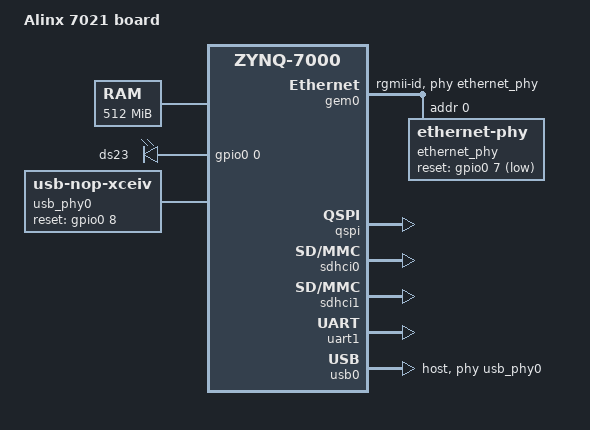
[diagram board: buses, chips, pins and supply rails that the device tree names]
// SPDX-License-Identifier: GPL-2.0+
/*
 *  Copyright (C) 2011 - 2015 Xilinx
 *  Copyright (C) 2012 National Instruments Corp.
 */
/dts-v1/;
#include "zynq-7000.dtsi"

/ {
	model = "Alinx 7021 board";
	compatible = "alinx,zynq-ax7021", "xlnx,zynq-7000";

	aliases {
		ethernet0 = &gem0;
		serial0 = &uart1;
		spi0 = &qspi;
		mmc0 = &sdhci0;
		mmc1 = &sdhci1;
	};

	memory@0 {
		device_type = "memory";
		reg = <0x0 0x20000000>;
	};

	chosen {
		bootargs = "";
		stdout-path = "serial0:115200n8";
	};

	leds {
		compatible = "gpio-leds";
		led-ds23 {
			label = "ds23";
			gpios = <&gpio0 0 0>;
			linux,default-trigger = "heartbeat";
		};
	};

	usb_phy0: phy0 {
		#phy-cells = <0>;
		compatible = "usb-nop-xceiv";
		reset-gpios = <&gpio0 8 0>; // GPIO_ACTIVE_HIGH 0
	};
};

&clkc {
	ps-clk-frequency = <33333333>;
};

&gem0 {
	status = "okay";
	phy-mode = "rgmii-id";
	phy-handle = <&ethernet_phy>;

	ethernet_phy: ethernet-phy@0 {
		reg = <0>;
		device_type = "ethernet-phy";
		reset-gpios = <&gpio0 7 1>; // GPIO_ACTIVE_LOW 1
	};
};

&qspi {
	bootph-all;
	status = "okay";
};

&sdhci0 {
	bootph-all;
	status = "okay";
};

&sdhci1 {
	bootph-all;
	status = "okay";
};

&uart1 {
	bootph-all;
	status = "okay";
};

&usb0 {
	status = "okay";
	dr_mode = "host";
	usb-phy = <&usb_phy0>;
};
